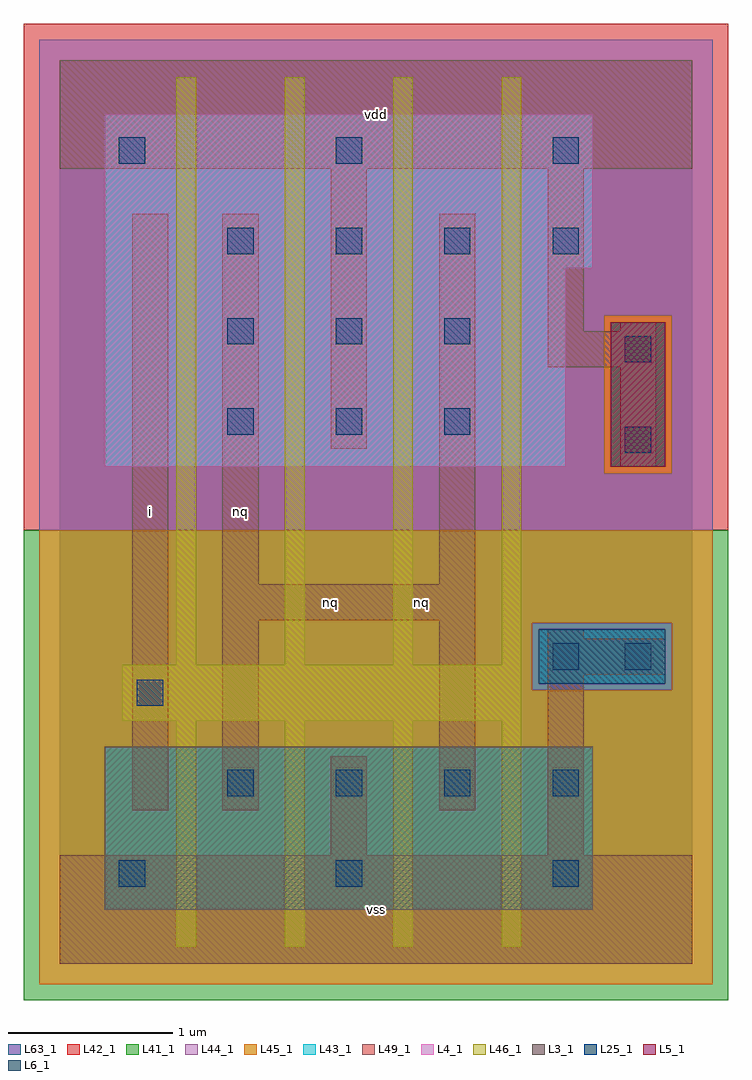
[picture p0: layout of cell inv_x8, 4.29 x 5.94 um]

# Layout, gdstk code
import gdstk
lib = gdstk.Library(unit=1e-6, precision=1e-09)
def R(c, l, rs):  # rectangles x0, y0, x1, y1
    for r in rs: c.add(gdstk.rectangle(r[:2], r[2:], *l))
def A(c, l, x, y, w, h, nx, ny, dx, dy):  # array of equal rectangles
    R(c, l, [(x+i*dx, y+j*dy, x+i*dx+w, y+j*dy+h) for i in range(nx) for j in range(ny)])
L3_1 = (3, 1)
L4_1 = (4, 1)
L5_1 = (5, 1)
L6_1 = (6, 1)
L25_1 = (25, 1)
L41_1 = (41, 1)
L42_1 = (42, 1)
L43_1 = (43, 1)
L44_1 = (44, 1)
L45_1 = (45, 1)
L46_1 = (46, 1)
L49_1 = (49, 1)
L63_1 = (63, 1)

inv_x8 = lib.new_cell('inv_x8')
R(inv_x8, L3_1, [(0.275,0.33,3.245,1.32)])
R(inv_x8, L4_1, [(0.275,3.025,3.08,4.235), (0.275,4.235,3.245,5.17)])
R(inv_x8, L5_1, [(3.355,3.025,3.685,3.905)])
R(inv_x8, L6_1, [(2.915,1.705,3.685,2.035)])
A(inv_x8, L25_1, 0.36, 0.47, 0.16, 0.16, 3, 2, 1.32, 4.4)
A(inv_x8, L25_1, 1.02, 1.02, 0.16, 0.16, 4, 2, 0.66, 3.3)
A(inv_x8, L25_1, 1.02, 3.22, 0.16, 0.16, 3, 2, 0.66, 0.55)
R(inv_x8, L25_1, [(0.47,1.57,0.63,1.73), (3,1.79,3.16,1.95), (3.44,1.79,3.6,1.95), (3.44,3.11,3.6,3.27), (3.44,3.66,3.6,3.82)])
R(inv_x8, L41_1, [(-0.22,-0.22,4.07,2.64)])
R(inv_x8, L42_1, [(-0.22,2.64,4.07,5.72)])
R(inv_x8, L43_1, [(0.275,0.33,3.245,1.32), (2.915,1.705,3.685,2.035), (0.275,3.025,3.08,4.235), (3.355,3.025,3.685,3.905), (0.275,4.235,3.245,5.17)])
R(inv_x8, L44_1, [(2.875,1.665,3.725,2.075), (-0.125,2.64,3.975,2.985), (-0.125,2.985,3.315,3.945), (3.725,2.985,3.975,3.945), (-0.125,3.945,3.975,5.625)])
R(inv_x8, L45_1, [(-0.125,-0.125,3.975,1.665), (-0.125,1.665,2.875,2.075), (3.725,1.665,3.975,2.075), (-0.125,2.075,3.975,2.64), (3.315,2.985,3.725,3.945)])
A(inv_x8, L46_1, 0.71, 0.105, 0.12, 1.375, 4, 1, 0.66, 0)
A(inv_x8, L46_1, 0.71, 1.82, 0.12, 3.575, 4, 1, 0.66, 0)
R(inv_x8, L46_1, [(0.38,1.48,2.81,1.82)])
R(inv_x8, L49_1, [(0,0,3.85,0.66), (1.65,0.66,1.87,1.265), (2.97,0.66,3.19,1.76), (0.44,0.935,0.66,4.565), (0.99,0.935,1.21,2.09), (2.31,0.935,2.53,2.09), (2.97,1.76,3.685,1.98), (2.97,1.98,3.19,2.035), (0.99,2.09,2.53,2.31), (0.99,2.31,1.21,4.565), (2.31,2.31,2.53,4.565), (3.41,3.025,3.63,3.63), (1.65,3.135,1.87,4.84), (2.97,3.63,3.63,3.85), (2.97,3.85,3.19,4.84), (3.41,3.85,3.63,3.905), (0,4.84,3.85,5.5)])
R(inv_x8, L63_1, [(0,0,3.85,5.5)])
inv_x8.add(gdstk.Label('i', (0.55,2.75), layer=49, texttype=1))
inv_x8.add(gdstk.Label('nq', (1.65,2.2), layer=49, texttype=1))
inv_x8.add(gdstk.Label('nq', (1.1,2.75), layer=49, texttype=1))
inv_x8.add(gdstk.Label('vss', (1.925,0.33), layer=49, texttype=1))
inv_x8.add(gdstk.Label('nq', (2.2,2.2), layer=49, texttype=1))
inv_x8.add(gdstk.Label('vdd', (1.925,5.17), layer=49, texttype=1))

lib.write_gds('inv_x8.gds')
